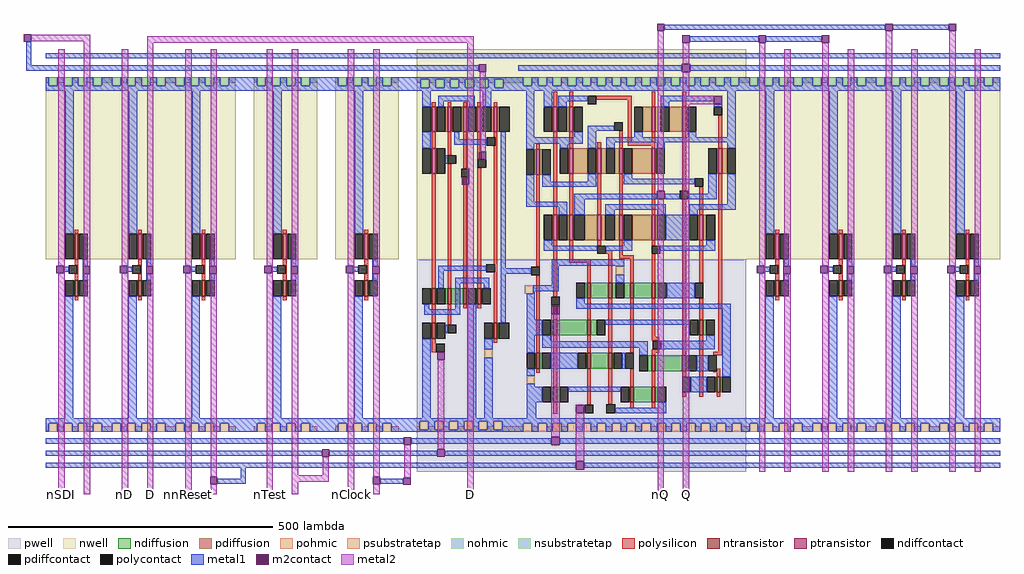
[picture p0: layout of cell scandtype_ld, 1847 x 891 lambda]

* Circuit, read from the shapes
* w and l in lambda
.subckt scandtype_ld Clock D GND! Q SDI Test Vdd! nClock nD nQ nReset nSDI nTest nnReset
M1 SDI nSDI GND! VSUBS nfet w=30 l=7
M2 D nD GND! VSUBS nfet w=30 l=7
M3 nReset nnReset GND! VSUBS nfet w=30 l=7
M4 Test nTest GND! VSUBS nfet w=30 l=7
M5 Clock nClock GND! VSUBS nfet w=30 l=7
M6 n1 Test GND! VSUBS nfet w=30 l=7
M7 n2 Test n3 VSUBS nfet w=30 l=7
M8 n4 n1 n2 VSUBS nfet w=30 l=7
M9 GND! D n4 VSUBS nfet w=30 l=7
M10 n3 SDI GND! VSUBS nfet w=30 l=7
M11 n5 n2 n6 VSUBS nfet w=30 l=7
M12 n7 n5 n8 VSUBS nfet w=30 l=7
M13 n9 Clock GND! VSUBS nfet w=30 l=7
M14 n10 Clock n8 VSUBS nfet w=30 l=7
M15 n11 nReset n7 VSUBS nfet w=30 l=7
M16 n12 nReset n10 VSUBS nfet w=30 l=7
M17 n13 nReset n14 VSUBS nfet w=30 l=7
M18 n15 n16 n11 VSUBS nfet w=30 l=7
M19 n17 n16 n13 VSUBS nfet w=30 l=7
M20 n18 n15 n9 VSUBS nfet w=30 l=7
M21 n19 n15 n17 VSUBS nfet w=30 l=7
M22 n16 n20 n18 VSUBS nfet w=30 l=7
M23 n21 n20 n8 VSUBS nfet w=30 l=7
M24 n22 n20 n19 VSUBS nfet w=30 l=7
M25 Q nQ n21 VSUBS nfet w=30 l=7
M26 n20 n22 n12 VSUBS nfet w=30 l=7
M27 n14 Q nQ VSUBS nfet w=30 l=7
M28 inv_5/Y Q GND! VSUBS nfet w=30 l=7
M29 inv_6/Y Q GND! VSUBS nfet w=30 l=7
M30 inv_7/Y nQ GND! VSUBS nfet w=30 l=7
M31 inv_8/Y nQ GND! VSUBS nfet w=30 l=7
M32 SDI nSDI Vdd! n23 pfet w=48 l=7
M33 D nD Vdd! n23 pfet w=48 l=7
M34 nReset nnReset Vdd! n23 pfet w=48 l=7
M35 Test nTest Vdd! n24 pfet w=48 l=7
M36 Clock nClock Vdd! n25 pfet w=48 l=7
M37 n1 Test Vdd! n26 pfet w=48 l=7
M38 n27 Test Vdd! n26 pfet w=48 l=7
M39 n2 n1 n27 n26 pfet w=48 l=7
M40 n27 D n2 n26 pfet w=48 l=7
M41 Vdd! SDI n27 n26 pfet w=48 l=7
M42 n5 n2 Vdd! n26 pfet w=48 l=7
M43 n15 n5 Vdd! n26 pfet w=48 l=7
M44 Vdd! Clock n16 n26 pfet w=48 l=7
M45 n20 Clock Vdd! n26 pfet w=48 l=7
M46 nQ nReset Vdd! n26 pfet w=48 l=7
M47 n15 nReset Vdd! n26 pfet w=48 l=7
M48 Vdd! nReset n20 n26 pfet w=48 l=7
M49 Vdd! n16 nQ n26 pfet w=48 l=7
M50 Vdd! n16 n15 n26 pfet w=48 l=7
M51 n16 n15 Vdd! n26 pfet w=48 l=7
M52 n22 n15 Vdd! n26 pfet w=48 l=7
M53 Vdd! n20 n16 n26 pfet w=48 l=7
M54 Vdd! n20 n22 n26 pfet w=48 l=7
M55 Q n20 Vdd! n26 pfet w=48 l=7
M56 Vdd! nQ Q n26 pfet w=48 l=7
M57 n20 n22 Vdd! n26 pfet w=48 l=7
M58 Vdd! Q nQ n26 pfet w=48 l=7
M59 inv_5/Y Q Vdd! n26 pfet w=48 l=7
M60 inv_6/Y Q Vdd! n26 pfet w=48 l=7
M61 inv_7/Y nQ Vdd! n26 pfet w=48 l=7
M62 inv_8/Y nQ Vdd! n26 pfet w=48 l=7
.ends

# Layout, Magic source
magic
tech c035u
<< pwell >>
rect 1199 0 1211 43
rect 1247 0 1259 43
<< metal1 >>
rect 1212 879 1630 889
rect 1644 879 1750 889
rect 4 812 14 857
rect 1260 857 1390 867
rect 1404 857 1510 867
rect 401 825 435 835
rect 555 825 589 835
rect 709 825 743 835
rect 4 802 41 812
rect 401 802 435 812
rect 555 802 589 812
rect 709 802 743 812
rect 401 764 435 789
rect 555 764 589 789
rect 709 764 743 789
rect 401 119 435 144
rect 555 119 589 144
rect 709 119 743 144
rect 401 96 435 106
rect 555 96 589 106
rect 709 96 719 106
rect 733 96 743 106
rect 401 73 435 83
rect 555 73 564 83
rect 578 73 589 83
rect 709 73 743 83
rect 401 50 435 60
rect 555 50 589 60
rect 709 50 743 60
rect 410 30 420 50
rect 366 20 420 30
rect 674 20 718 30
<< m2contact >>
rect 1198 877 1212 891
rect 1630 877 1644 891
rect 1750 877 1764 891
rect 0 857 14 871
rect 1246 855 1260 869
rect 1390 855 1404 869
rect 1510 855 1524 869
rect 719 94 733 108
rect 564 71 578 85
rect 352 19 366 33
rect 660 19 674 33
rect 718 18 732 32
<< metal2 >>
rect 14 858 125 870
rect 113 842 125 858
rect 233 855 851 867
rect 233 842 245 855
rect 839 842 851 855
rect 1199 842 1211 877
rect 1247 842 1259 855
rect 1391 842 1403 855
rect 1511 842 1523 855
rect 1631 842 1643 877
rect 1751 842 1763 877
rect 65 0 77 43
rect 113 0 125 43
rect 185 0 197 43
rect 233 0 245 43
rect 305 0 317 43
rect 353 33 365 43
rect 353 0 365 19
rect 459 0 471 43
rect 507 36 519 43
rect 565 36 577 71
rect 507 24 577 36
rect 507 0 519 24
rect 613 0 625 43
rect 661 33 673 43
rect 720 32 732 94
rect 661 0 673 19
rect 839 0 851 43
rect 1199 0 1211 43
rect 1247 0 1259 43
use inv inv_0
transform 1 0 41 0 1 43
box 0 0 120 799
use inv inv_1
transform 1 0 161 0 1 43
box 0 0 120 799
use inv inv_2
transform 1 0 281 0 1 43
box 0 0 120 799
use inv inv_3
transform 1 0 435 0 1 43
box 0 0 120 799
use inv inv_4
transform 1 0 589 0 1 43
box 0 0 120 799
use scandtype scandtype_0
transform 1 0 743 0 1 43
box 0 0 624 799
use inv inv_5
transform 1 0 1367 0 1 43
box 0 0 120 799
use inv inv_6
transform 1 0 1487 0 1 43
box 0 0 120 799
use inv inv_7
transform 1 0 1607 0 1 43
box 0 0 120 799
use inv inv_8
transform 1 0 1727 0 1 43
box 0 0 120 799
<< labels >>
rlabel metal2 613 0 625 0 1 nClock
rlabel metal2 459 0 471 0 1 nTest
rlabel metal2 305 0 317 0 1 nnReset
rlabel metal2 839 0 851 0 1 D
rlabel metal2 1247 0 1259 0 1 Q
rlabel metal2 1199 0 1211 0 1 nQ
rlabel metal2 185 0 197 0 1 nD
rlabel metal2 65 0 77 0 1 nSDI
rlabel metal2 661 0 673 0 1 Clock
rlabel metal2 507 0 519 0 1 Test
rlabel metal2 353 0 365 0 1 nReset
rlabel metal2 233 0 245 0 1 D
rlabel metal2 113 0 125 0 1 SDI
<< end >>

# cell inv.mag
magic
tech c035u
<< nwell >>
rect 0 402 120 746
<< polysilicon >>
rect 55 450 62 458
rect 55 391 62 402
rect 60 375 62 391
rect 55 362 62 375
rect 55 324 62 332
<< ndiffusion >>
rect 53 332 55 362
rect 62 332 64 362
<< pdiffusion >>
rect 53 402 55 450
rect 62 402 64 450
<< pohmic >>
rect 0 76 6 86
rect 22 76 34 86
rect 50 76 62 86
rect 78 76 90 86
rect 106 76 120 86
<< nohmic >>
rect 0 736 6 746
rect 22 736 34 746
rect 50 736 62 746
rect 78 736 90 746
rect 106 736 120 746
<< ntransistor >>
rect 55 332 62 362
<< ptransistor >>
rect 55 402 62 450
<< polycontact >>
rect 44 375 60 391
<< ndiffcontact >>
rect 37 332 53 362
rect 64 332 80 362
<< pdiffcontact >>
rect 37 402 53 450
rect 64 402 80 450
<< psubstratetap >>
rect 6 76 22 92
rect 34 76 50 92
rect 62 76 78 92
rect 90 76 106 92
<< nsubstratetap >>
rect 6 730 22 746
rect 34 730 50 746
rect 62 730 78 746
rect 90 730 106 746
<< metal1 >>
rect 0 782 120 792
rect 0 759 120 769
rect 0 730 6 746
rect 22 730 34 746
rect 50 730 62 746
rect 78 730 90 746
rect 106 730 120 746
rect 0 721 120 730
rect 37 450 53 721
rect 34 378 44 388
rect 70 389 80 402
rect 70 362 80 375
rect 36 101 52 332
rect 0 92 120 101
rect 0 76 6 92
rect 22 76 34 92
rect 50 76 62 92
rect 78 76 90 92
rect 106 76 120 92
rect 0 53 120 63
rect 0 30 120 40
rect 0 7 120 17
<< m2contact >>
rect 20 376 34 390
rect 70 375 84 389
<< metal2 >>
rect 24 390 36 799
rect 34 376 36 390
rect 72 389 84 799
rect 24 0 36 376
rect 72 0 84 375
<< labels >>
rlabel metal1 0 721 0 746 7 Vdd!
rlabel metal1 0 759 0 769 7 Scan
rlabel metal1 0 782 0 792 6 ScanReturn
rlabel metal1 120 721 120 746 7 Vdd!
rlabel metal1 120 759 120 769 7 Scan
rlabel metal1 120 782 120 792 6 ScanReturn
rlabel metal2 24 799 36 799 5 A
rlabel metal2 72 799 84 799 5 Y
rlabel metal1 0 76 0 101 7 GND!
rlabel metal1 0 53 0 63 7 Clock
rlabel metal1 0 30 0 40 7 Test
rlabel metal1 0 7 0 17 8 nReset
rlabel metal1 120 7 120 17 8 nReset
rlabel metal1 120 30 120 40 7 Test
rlabel metal1 120 53 120 63 7 Clock
rlabel metal1 120 76 120 101 7 GND!
rlabel metal2 24 0 36 0 1 A
rlabel metal2 72 0 84 0 1 Y
<< end >>

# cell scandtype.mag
magic
tech c035u
<< nwell >>
rect 0 401 624 799
<< pwell >>
rect 0 0 624 401
<< polysilicon >>
rect 29 691 36 699
rect 59 691 66 699
rect 88 691 95 699
rect 115 691 122 699
rect 146 691 153 699
rect 259 691 266 719
rect 289 691 296 719
rect 340 704 407 711
rect 29 612 36 643
rect 59 599 66 643
rect 29 347 36 564
rect 59 347 66 583
rect 88 573 95 643
rect 115 591 122 643
rect 146 633 153 643
rect 149 617 153 633
rect 115 575 116 591
rect 88 347 95 557
rect 115 347 122 575
rect 146 393 153 617
rect 226 610 233 621
rect 148 377 153 393
rect 226 388 233 562
rect 259 486 266 643
rect 289 612 296 643
rect 342 612 349 623
rect 383 612 390 645
rect 400 624 407 704
rect 445 691 452 719
rect 503 691 510 719
rect 445 624 452 643
rect 400 617 452 624
rect 445 612 452 617
rect 289 486 296 564
rect 342 486 349 564
rect 383 486 390 564
rect 445 486 452 564
rect 503 532 510 643
rect 571 612 578 675
rect 29 282 36 317
rect 59 278 66 317
rect 88 309 95 317
rect 115 309 122 317
rect 146 282 153 377
rect 29 242 36 252
rect 146 244 153 252
rect 29 226 37 242
rect 226 225 233 372
rect 259 331 266 438
rect 289 402 296 438
rect 342 428 349 438
rect 358 412 370 419
rect 289 395 330 402
rect 323 358 330 395
rect 363 358 370 412
rect 383 410 390 438
rect 445 428 452 438
rect 383 403 411 410
rect 404 358 411 403
rect 445 358 452 412
rect 259 288 266 315
rect 323 288 330 328
rect 226 187 233 195
rect 259 161 266 258
rect 323 225 330 258
rect 363 225 370 328
rect 404 225 411 328
rect 445 255 452 328
rect 445 248 459 255
rect 445 225 459 232
rect 445 220 452 225
rect 503 220 510 516
rect 535 486 542 539
rect 535 358 542 438
rect 535 288 542 328
rect 259 110 266 131
rect 323 127 330 195
rect 363 128 370 195
rect 404 161 411 195
rect 445 161 452 190
rect 503 180 510 190
rect 503 142 510 150
rect 535 142 542 258
rect 571 227 578 564
rect 561 220 578 227
rect 568 190 575 195
rect 561 188 575 190
rect 568 180 575 188
rect 568 142 575 150
rect 404 120 411 131
rect 445 120 452 131
<< ndiffusion >>
rect 27 317 29 347
rect 36 317 38 347
rect 54 317 59 347
rect 66 317 88 347
rect 95 317 97 347
rect 113 317 115 347
rect 122 317 124 347
rect 27 252 29 282
rect 36 252 38 282
rect 144 252 146 282
rect 153 252 155 282
rect 318 328 323 358
rect 330 328 363 358
rect 370 328 377 358
rect 393 328 404 358
rect 411 328 445 358
rect 452 328 457 358
rect 254 258 259 288
rect 266 258 323 288
rect 330 258 341 288
rect 224 195 226 225
rect 233 195 238 225
rect 321 195 323 225
rect 330 195 363 225
rect 370 195 373 225
rect 533 258 535 288
rect 542 258 548 288
rect 254 131 259 161
rect 266 131 271 161
rect 437 190 445 220
rect 452 190 503 220
rect 510 190 514 220
rect 402 131 404 161
rect 411 131 445 161
rect 452 131 456 161
rect 565 150 568 180
rect 575 150 578 180
<< pdiffusion >>
rect 27 643 29 691
rect 36 643 38 691
rect 54 643 59 691
rect 66 643 68 691
rect 84 643 88 691
rect 95 643 97 691
rect 113 643 115 691
rect 122 643 125 691
rect 141 643 146 691
rect 153 643 156 691
rect 257 643 259 691
rect 266 643 268 691
rect 284 643 289 691
rect 296 643 298 691
rect 27 564 29 612
rect 36 564 38 612
rect 223 562 226 610
rect 233 562 238 610
rect 428 643 445 691
rect 452 643 462 691
rect 478 643 503 691
rect 510 643 513 691
rect 287 564 289 612
rect 296 564 324 612
rect 340 564 342 612
rect 349 564 359 612
rect 375 564 383 612
rect 390 564 392 612
rect 408 564 445 612
rect 452 564 454 612
rect 568 564 571 612
rect 578 564 588 612
rect 257 438 259 486
rect 266 438 269 486
rect 285 438 289 486
rect 296 438 298 486
rect 318 438 342 486
rect 349 438 357 486
rect 375 438 383 486
rect 390 438 392 486
rect 408 438 445 486
rect 452 438 455 486
rect 532 438 535 486
rect 542 438 548 486
<< pohmic >>
rect 0 79 6 86
rect 22 79 34 86
rect 50 79 62 86
rect 78 79 90 86
rect 106 79 118 86
rect 134 79 146 86
rect 162 79 202 86
rect 0 76 202 79
rect 218 76 230 86
rect 246 76 258 86
rect 274 76 286 86
rect 302 76 314 86
rect 330 76 342 86
rect 358 76 370 86
rect 386 76 398 86
rect 414 76 426 86
rect 443 76 455 86
rect 471 76 483 86
rect 499 76 511 86
rect 527 76 539 86
rect 556 76 568 86
rect 585 76 597 86
rect 614 76 624 86
<< nohmic >>
rect 0 743 202 746
rect 0 736 8 743
rect 24 736 36 743
rect 52 736 64 743
rect 80 736 92 743
rect 108 736 120 743
rect 136 736 148 743
rect 164 736 202 743
rect 218 736 230 746
rect 246 736 258 746
rect 274 736 286 746
rect 302 736 314 746
rect 330 736 342 746
rect 358 736 370 746
rect 386 736 398 746
rect 414 736 426 746
rect 442 736 454 746
rect 470 736 482 746
rect 498 736 510 746
rect 526 736 538 746
rect 554 736 566 746
rect 582 736 594 746
rect 610 736 624 746
<< ntransistor >>
rect 29 317 36 347
rect 59 317 66 347
rect 88 317 95 347
rect 115 317 122 347
rect 29 252 36 282
rect 146 252 153 282
rect 323 328 330 358
rect 363 328 370 358
rect 404 328 411 358
rect 445 328 452 358
rect 259 258 266 288
rect 323 258 330 288
rect 226 195 233 225
rect 323 195 330 225
rect 363 195 370 225
rect 535 258 542 288
rect 259 131 266 161
rect 445 190 452 220
rect 503 190 510 220
rect 404 131 411 161
rect 445 131 452 161
rect 568 150 575 180
<< ptransistor >>
rect 29 643 36 691
rect 59 643 66 691
rect 88 643 95 691
rect 115 643 122 691
rect 146 643 153 691
rect 259 643 266 691
rect 289 643 296 691
rect 29 564 36 612
rect 226 562 233 610
rect 445 643 452 691
rect 503 643 510 691
rect 289 564 296 612
rect 342 564 349 612
rect 383 564 390 612
rect 445 564 452 612
rect 571 564 578 612
rect 259 438 266 486
rect 289 438 296 486
rect 342 438 349 486
rect 383 438 390 486
rect 445 438 452 486
rect 535 438 542 486
<< polycontact >>
rect 324 695 340 711
rect 374 645 390 661
rect 59 583 75 599
rect 133 617 149 633
rect 116 575 132 591
rect 84 557 100 573
rect 132 377 148 393
rect 562 675 578 691
rect 526 539 542 555
rect 498 516 514 532
rect 217 372 233 388
rect 59 262 75 278
rect 37 226 53 242
rect 342 412 358 428
rect 445 412 461 428
rect 255 315 271 331
rect 447 232 463 248
rect 395 195 411 225
rect 526 328 542 358
rect 503 150 519 180
rect 552 190 568 220
rect 318 111 334 127
rect 359 111 376 128
<< ndiffcontact >>
rect 11 317 27 347
rect 38 317 54 347
rect 97 317 113 347
rect 124 317 140 347
rect 11 252 27 282
rect 38 252 54 282
rect 128 252 144 282
rect 155 252 175 282
rect 302 328 318 358
rect 377 328 393 358
rect 457 328 473 358
rect 238 258 254 288
rect 341 258 357 288
rect 208 195 224 225
rect 238 195 254 225
rect 305 195 321 225
rect 373 195 389 225
rect 517 258 533 288
rect 548 258 564 288
rect 238 131 254 161
rect 271 131 287 161
rect 421 190 437 220
rect 514 190 530 220
rect 386 131 402 161
rect 456 131 472 161
rect 549 150 565 180
rect 578 150 594 180
<< pdiffcontact >>
rect 11 643 27 691
rect 38 643 54 691
rect 68 643 84 691
rect 97 643 113 691
rect 125 643 141 691
rect 156 643 176 691
rect 241 643 257 691
rect 268 643 284 691
rect 298 643 314 691
rect 11 564 27 612
rect 38 564 54 612
rect 207 562 223 610
rect 238 562 254 610
rect 412 643 428 691
rect 462 643 478 691
rect 513 643 529 691
rect 271 564 287 612
rect 324 564 340 612
rect 359 564 375 612
rect 392 564 408 612
rect 454 564 470 612
rect 552 564 568 612
rect 588 564 604 612
rect 241 438 257 486
rect 269 438 285 486
rect 298 438 318 486
rect 357 438 375 486
rect 392 438 408 486
rect 455 438 471 486
rect 516 438 532 486
rect 548 438 565 486
<< psubstratetap >>
rect 205 337 221 353
rect 128 216 144 232
rect 377 373 393 389
rect 208 166 224 182
rect 6 79 22 95
rect 34 79 50 95
rect 62 79 78 95
rect 90 79 106 95
rect 118 79 134 95
rect 146 79 162 95
rect 202 76 218 92
rect 230 76 246 92
rect 258 76 274 92
rect 286 76 302 92
rect 314 76 330 92
rect 342 76 358 92
rect 370 76 386 92
rect 398 76 414 92
rect 426 76 443 92
rect 455 76 471 92
rect 483 76 499 92
rect 511 76 527 92
rect 539 76 556 92
rect 568 76 585 92
rect 597 76 614 92
<< nsubstratetap >>
rect 8 727 24 743
rect 36 727 52 743
rect 64 727 80 743
rect 92 727 108 743
rect 120 727 136 743
rect 148 727 164 743
rect 202 730 218 746
rect 230 730 246 746
rect 258 730 274 746
rect 286 730 302 746
rect 314 730 330 746
rect 342 730 358 746
rect 370 730 386 746
rect 398 730 414 746
rect 426 730 442 746
rect 454 730 470 746
rect 482 730 498 746
rect 510 730 526 746
rect 538 730 554 746
rect 566 730 582 746
rect 594 730 610 746
<< metal1 >>
rect 0 782 624 792
rect 0 759 118 769
rect 192 759 502 769
rect 518 759 624 769
rect 0 743 202 746
rect 0 727 8 743
rect 24 727 36 743
rect 52 727 64 743
rect 80 727 92 743
rect 108 727 120 743
rect 136 727 148 743
rect 164 730 202 743
rect 218 730 230 746
rect 246 730 258 746
rect 274 730 286 746
rect 302 730 314 746
rect 330 730 342 746
rect 358 730 370 746
rect 386 730 398 746
rect 414 730 426 746
rect 442 730 454 746
rect 470 730 482 746
rect 498 730 510 746
rect 526 730 538 746
rect 554 730 566 746
rect 582 730 594 746
rect 610 730 624 746
rect 164 727 624 730
rect 0 721 624 727
rect 11 691 27 721
rect 41 701 110 711
rect 41 691 51 701
rect 100 691 110 701
rect 125 691 141 721
rect 11 612 27 643
rect 71 629 81 643
rect 71 619 133 629
rect 54 583 59 599
rect 41 380 132 390
rect 41 347 51 380
rect 159 385 169 643
rect 207 634 223 721
rect 241 691 257 721
rect 268 701 324 711
rect 268 691 284 701
rect 462 701 562 711
rect 462 691 478 701
rect 562 691 578 695
rect 207 633 224 634
rect 298 633 314 643
rect 207 621 314 633
rect 324 645 374 655
rect 207 610 223 621
rect 271 612 287 621
rect 207 511 223 562
rect 324 612 340 645
rect 412 633 428 643
rect 513 633 529 643
rect 588 633 604 721
rect 359 623 604 633
rect 359 612 375 623
rect 454 612 470 623
rect 588 612 604 623
rect 238 549 254 562
rect 324 549 340 564
rect 238 539 340 549
rect 392 554 408 564
rect 392 544 526 554
rect 298 516 454 526
rect 470 516 498 526
rect 552 526 568 564
rect 514 516 568 526
rect 207 501 285 511
rect 269 486 285 501
rect 298 486 318 516
rect 588 506 604 564
rect 357 496 471 506
rect 357 486 375 496
rect 455 486 471 496
rect 516 496 604 506
rect 516 486 532 496
rect 471 438 516 486
rect 241 428 257 438
rect 392 428 408 438
rect 548 428 565 438
rect 241 418 342 428
rect 358 418 408 428
rect 461 418 565 428
rect 256 390 393 402
rect 159 375 217 385
rect 73 357 137 367
rect 14 307 24 317
rect 73 307 83 357
rect 127 347 137 357
rect 14 297 83 307
rect 54 262 59 278
rect 11 101 27 252
rect 97 101 113 317
rect 159 282 169 375
rect 256 353 269 390
rect 377 389 393 390
rect 377 358 393 373
rect 221 341 269 353
rect 221 337 224 341
rect 208 288 224 337
rect 255 314 271 315
rect 473 328 526 358
rect 302 318 318 328
rect 302 308 594 318
rect 208 258 238 288
rect 357 278 517 288
rect 128 232 144 252
rect 128 101 144 216
rect 208 225 224 258
rect 238 247 254 258
rect 548 248 564 258
rect 238 235 437 247
rect 254 195 305 225
rect 389 195 395 225
rect 421 220 437 235
rect 463 232 564 248
rect 208 182 224 195
rect 530 190 552 220
rect 578 180 594 308
rect 208 161 224 166
rect 208 131 238 161
rect 287 151 386 161
rect 519 150 549 180
rect 208 101 226 131
rect 317 111 318 127
rect 456 121 472 131
rect 376 111 472 121
rect 0 95 624 101
rect 0 79 6 95
rect 22 79 34 95
rect 50 79 62 95
rect 78 79 90 95
rect 106 79 118 95
rect 134 79 146 95
rect 162 92 624 95
rect 162 79 202 92
rect 0 76 202 79
rect 218 76 230 92
rect 246 76 258 92
rect 274 76 286 92
rect 302 76 314 92
rect 330 76 342 92
rect 358 76 370 92
rect 386 76 398 92
rect 414 76 426 92
rect 443 76 455 92
rect 471 76 483 92
rect 499 76 511 92
rect 527 76 539 92
rect 556 76 568 92
rect 585 76 597 92
rect 614 76 624 92
rect 0 53 255 63
rect 271 53 624 63
rect 0 30 39 40
rect 53 30 624 40
rect 0 7 301 17
rect 317 7 624 17
<< m2contact >>
rect 118 757 132 771
rect 502 756 518 772
rect 118 591 132 605
rect 85 543 99 557
rect 562 695 578 711
rect 454 516 470 532
rect 39 212 53 226
rect 255 298 271 314
rect 301 111 317 127
rect 255 50 271 66
rect 39 28 53 42
rect 301 4 317 20
<< metal2 >>
rect 96 557 108 799
rect 119 605 131 757
rect 99 543 108 557
rect 40 42 52 212
rect 96 0 108 543
rect 456 532 468 799
rect 504 772 516 799
rect 504 711 516 756
rect 504 695 562 711
rect 255 66 271 298
rect 301 20 317 111
rect 456 0 468 516
rect 504 0 516 695
<< labels >>
rlabel metal1 0 782 0 792 4 ScanReturn
rlabel metal1 0 759 0 769 3 SDI
rlabel metal2 96 799 108 799 5 D
rlabel metal1 0 76 0 101 1 GND!
rlabel metal1 0 7 0 17 2 nReset
rlabel metal1 0 30 0 40 3 Test
rlabel metal1 0 53 0 63 3 Clock
rlabel metal2 96 0 108 0 1 D
rlabel metal1 0 721 0 746 3 Vdd!
rlabel metal1 624 782 624 792 7 ScanReturn
rlabel metal1 624 759 624 769 7 Q
rlabel metal1 624 76 624 101 7 GND!
rlabel metal1 624 53 624 63 7 Clock
rlabel metal1 624 30 624 40 7 Test
rlabel metal1 624 7 624 17 7 nReset
rlabel metal1 624 721 624 746 7 Vdd!
rlabel metal2 456 0 468 0 1 nQ
rlabel metal2 504 0 516 0 1 Q
rlabel metal2 504 799 516 799 5 Q
rlabel metal2 456 799 468 799 5 nQ
<< end >>
